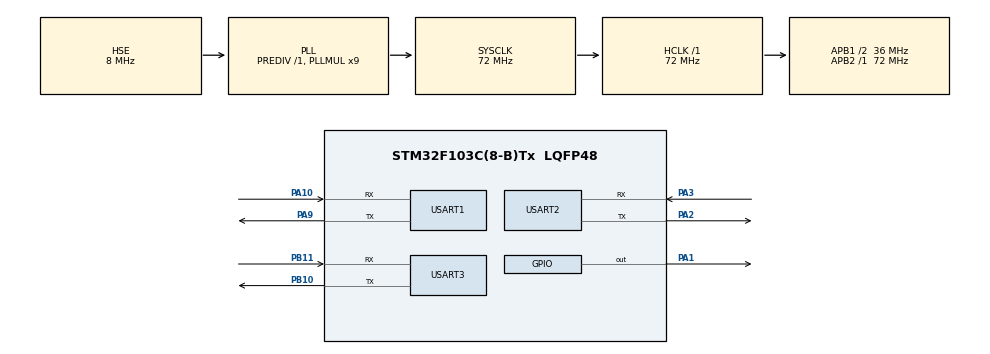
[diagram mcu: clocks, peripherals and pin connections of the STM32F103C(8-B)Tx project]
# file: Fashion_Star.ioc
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Dma.Request0=USART2_RX
Dma.Request1=USART2_TX
Dma.Request2=USART1_RX
Dma.Request3=USART1_TX
Dma.USART1_RX.2.Direction=DMA_PERIPH_TO_MEMORY
Dma.USART1_RX.2.Instance=DMA1_Channel5
Dma.USART1_RX.2.MemDataAlignment=DMA_MDATAALIGN_BYTE
Dma.USART1_RX.2.MemInc=DMA_MINC_ENABLE
Dma.USART1_RX.2.Mode=DMA_NORMAL
Dma.USART1_RX.2.PeriphDataAlignment=DMA_PDATAALIGN_BYTE
Dma.USART1_RX.2.PeriphInc=DMA_PINC_DISABLE
Dma.USART1_RX.2.Priority=DMA_PRIORITY_LOW
Dma.USART1_TX.3.Direction=DMA_MEMORY_TO_PERIPH
Dma.USART1_TX.3.Instance=DMA1_Channel4
Dma.USART1_TX.3.MemDataAlignment=DMA_MDATAALIGN_BYTE
Dma.USART1_TX.3.MemInc=DMA_MINC_ENABLE
Dma.USART1_TX.3.Mode=DMA_NORMAL
Dma.USART1_TX.3.PeriphDataAlignment=DMA_PDATAALIGN_BYTE
Dma.USART1_TX.3.PeriphInc=DMA_PINC_DISABLE
Dma.USART1_TX.3.Priority=DMA_PRIORITY_LOW
Dma.USART2_RX.0.Direction=DMA_PERIPH_TO_MEMORY
Dma.USART2_RX.0.Instance=DMA1_Channel6
Dma.USART2_RX.0.MemDataAlignment=DMA_MDATAALIGN_BYTE
Dma.USART2_RX.0.MemInc=DMA_MINC_ENABLE
Dma.USART2_RX.0.Mode=DMA_NORMAL
Dma.USART2_RX.0.PeriphDataAlignment=DMA_PDATAALIGN_BYTE
Dma.USART2_RX.0.PeriphInc=DMA_PINC_DISABLE
Dma.USART2_RX.0.Priority=DMA_PRIORITY_LOW
Dma.USART2_TX.1.Direction=DMA_MEMORY_TO_PERIPH
Dma.USART2_TX.1.Instance=DMA1_Channel7
Dma.USART2_TX.1.MemDataAlignment=DMA_MDATAALIGN_BYTE
Dma.USART2_TX.1.MemInc=DMA_MINC_ENABLE
Dma.USART2_TX.1.Mode=DMA_NORMAL
Dma.USART2_TX.1.PeriphDataAlignment=DMA_PDATAALIGN_BYTE
Dma.USART2_TX.1.PeriphInc=DMA_PINC_DISABLE
Dma.USART2_TX.1.Priority=DMA_PRIORITY_LOW
Mcu.Family=STM32F1
Mcu.Name=STM32F103C(8-B)Tx
Mcu.Package=LQFP48
NVIC.DMA1_Channel4_IRQn=true\:0\:0\:false\:false\:true\:false\:true\:true
NVIC.DMA1_Channel5_IRQn=true\:0\:0\:false\:false\:true\:false\:true\:true
NVIC.DMA1_Channel6_IRQn=true\:0\:0\:false\:false\:true\:false\:true\:true
NVIC.DMA1_Channel7_IRQn=true\:0\:0\:false\:false\:true\:false\:true\:true
NVIC.PriorityGroup=NVIC_PRIORITYGROUP_4
NVIC.USART1_IRQn=true\:0\:0\:false\:false\:true\:true\:true\:true
NVIC.USART2_IRQn=true\:0\:0\:false\:false\:true\:true\:true\:true
PA1.Signal=GPIO_Output
PA10.Mode=Asynchronous
PA10.Signal=USART1_RX
PA2.Mode=Asynchronous
PA2.Signal=USART2_TX
PA3.Mode=Asynchronous
PA3.Signal=USART2_RX
PA9.Mode=Asynchronous
PA9.Signal=USART1_TX
PB10.Mode=Asynchronous
PB10.Signal=USART3_TX
PB11.Mode=Asynchronous
PB11.Signal=USART3_RX
PC14-OSC32_IN.Mode=LSE-External-Oscillator
PC14-OSC32_IN.Signal=RCC_OSC32_IN
PC15-OSC32_OUT.Mode=LSE-External-Oscillator
PC15-OSC32_OUT.Signal=RCC_OSC32_OUT
PD0-OSC_IN.Mode=HSE-External-Oscillator
PD0-OSC_IN.Signal=RCC_OSC_IN
PD1-OSC_OUT.Mode=HSE-External-Oscillator
PD1-OSC_OUT.Signal=RCC_OSC_OUT
ProjectManager.HeapSize=0x200
ProjectManager.StackSize=0x400
ProjectManager.TargetToolchain=MDK-ARM V5.32
RCC.AHBFreq_Value=72000000
RCC.APB1CLKDivider=RCC_HCLK_DIV2
RCC.APB1Freq_Value=36000000
RCC.APB1TimFreq_Value=72000000
RCC.APB2Freq_Value=72000000
RCC.APB2TimFreq_Value=72000000
RCC.HCLKFreq_Value=72000000
RCC.PLLMUL=RCC_PLL_MUL9
RCC.PLLSourceVirtual=RCC_PLLSOURCE_HSE
RCC.SYSCLKFreq_VALUE=72000000
RCC.SYSCLKSource=RCC_SYSCLKSOURCE_PLLCLK
RCC.USBFreq_Value=72000000
USART1.VirtualMode=VM_ASYNC
USART2.VirtualMode=VM_ASYNC
USART3.VirtualMode=VM_ASYNC
VP_SYS_VS_ND.Mode=No_Debug
board=custom

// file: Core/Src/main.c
/* USER CODE BEGIN Header */
/**
  ******************************************************************************
  * @file           : main.c
  * @brief          : Main program body
  ******************************************************************************
  * @attention
  *
  * Copyright (c) 2023 STMicroelectronics.
  * All rights reserved.
  *
  * This software is licensed under terms that can be found in the LICENSE file
  * in the root directory of this software component.
  * If no LICENSE file comes with this software, it is provided AS-IS.
  *
  ******************************************************************************
  */
/* USER CODE END Header */
#include "main.h"
#include "dma.h"
#include "usart.h"
#include "gpio.h"

/* USER CODE BEGIN Includes */
#include "Fashion_Star.h"
#include "stdio.h"
#include "PID.h"
/* USER CODE END Includes */

/* USER CODE BEGIN PM */
extern PID pid_bottom,pid_top;
/* USER CODE END PM */

void SystemClock_Config(void);

int main(void)
{

  /* MCU Configuration--------------------------------------------------------*/

  /* Reset of all peripherals, Initializes the Flash interface and the Systick. */
  HAL_Init();

  /* Configure the system clock */
  SystemClock_Config();

  /* Initialize all configured peripherals */
  MX_GPIO_Init();
  MX_DMA_Init();
  MX_USART2_UART_Init();
  MX_USART1_UART_Init();
  MX_USART3_UART_Init();
  /* USER CODE BEGIN 2 */
	__HAL_UART_ENABLE_IT(&huart1,UART_IT_IDLE);  //使能空闲中断
	HAL_UART_Receive_DMA(&huart1,UART1_RX_BUF,UART1_RX_SIZE);  //启动DMA接收，UART1_RX_BUF：数据接收缓冲

	__HAL_UART_ENABLE_IT(&huart2,UART_IT_IDLE);  //使能空闲中断
	HAL_UART_Receive_DMA(&huart2,UART2_RX_BUF,UART2_RX_SIZE);  //启动DMA接收，UART2_RX_BUF：数据接收缓冲
	printf("123\r\n");
	incPIDInit(&pid_bottom,0.05,0,0,0,1);
	incPIDInit(&pid_top,0.05,0,0,0,1);
	if(init_my_arm())
	{}
	else
		while(1);
	angle_ctrl(2,0,500,0);
	HAL_Delay(1000);
	angle_ctrl(3,0,500,0);

  /* USER CODE END 2 */

  /* Infinite loop */
  while (1)
  {

  }
}

void SystemClock_Config(void)
{
  RCC_OscInitTypeDef RCC_OscInitStruct = {0};
  RCC_ClkInitTypeDef RCC_ClkInitStruct = {0};

  /** Initializes the RCC Oscillators according to the specified parameters
  * in the RCC_OscInitTypeDef structure.
  */
  RCC_OscInitStruct.OscillatorType = RCC_OSCILLATORTYPE_HSE;
  RCC_OscInitStruct.HSEState = RCC_HSE_ON;
  RCC_OscInitStruct.HSEPredivValue = RCC_HSE_PREDIV_DIV1;
  RCC_OscInitStruct.HSIState = RCC_HSI_ON;
  RCC_OscInitStruct.PLL.PLLState = RCC_PLL_ON;
  RCC_OscInitStruct.PLL.PLLSource = RCC_PLLSOURCE_HSE;
  RCC_OscInitStruct.PLL.PLLMUL = RCC_PLL_MUL9;
  if (HAL_RCC_OscConfig(&RCC_OscInitStruct) != HAL_OK)
  {
    Error_Handler();
  }

  /** Initializes the CPU, AHB and APB buses clocks
  */
  RCC_ClkInitStruct.ClockType = RCC_CLOCKTYPE_HCLK|RCC_CLOCKTYPE_SYSCLK
                              |RCC_CLOCKTYPE_PCLK1|RCC_CLOCKTYPE_PCLK2;
  RCC_ClkInitStruct.SYSCLKSource = RCC_SYSCLKSOURCE_PLLCLK;
  RCC_ClkInitStruct.AHBCLKDivider = RCC_SYSCLK_DIV1;
  RCC_ClkInitStruct.APB1CLKDivider = RCC_HCLK_DIV2;
  RCC_ClkInitStruct.APB2CLKDivider = RCC_HCLK_DIV1;

  if (HAL_RCC_ClockConfig(&RCC_ClkInitStruct, FLASH_LATENCY_2) != HAL_OK)
  {
    Error_Handler();
  }
}

void Error_Handler(void)
{
  __disable_irq();
  while (1)
  {
  }
}
